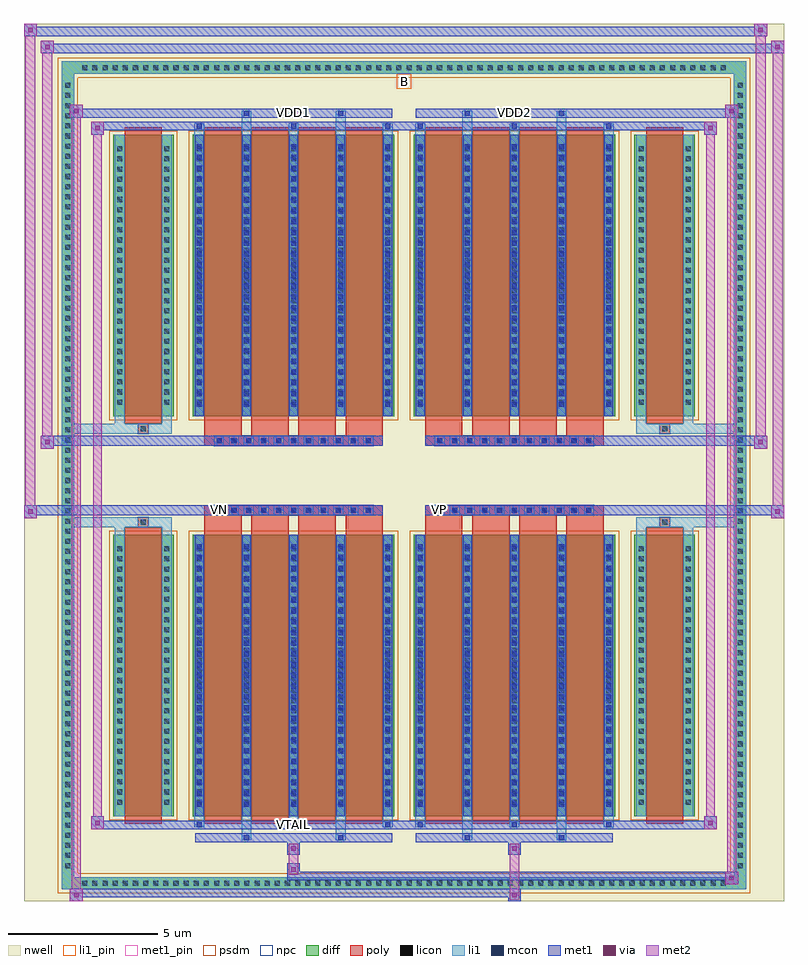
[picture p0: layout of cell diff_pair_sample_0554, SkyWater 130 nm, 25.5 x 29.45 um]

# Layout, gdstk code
import gdstk
lib = gdstk.Library(unit=1e-6, precision=5e-09)
def R(c, l, rs):  # rectangles x0, y0, x1, y1
    for r in rs: c.add(gdstk.rectangle(r[:2], r[2:], *l))
def A(c, l, x, y, w, h, nx, ny, dx, dy):  # array of equal rectangles
    R(c, l, [(x+i*dx, y+j*dy, x+i*dx+w, y+j*dy+h) for i in range(nx) for j in range(ny)])
def P(c, l, *ps):  # polygons
    for p in ps: c.add(gdstk.Polygon(p, *l))
nwell = (64, 20)
diff = (65, 20)
poly = (66, 20)
licon = (66, 44)
li1_pin = (67, 16)
li1 = (67, 20)
mcon = (67, 44)
met1_pin = (68, 16)
met1 = (68, 20)
via = (68, 44)
met2 = (69, 20)
psdm = (94, 20)
npc = (95, 20)

diff_pair_sample_0554 = lib.new_cell('diff_pair_sample_0554')
R(diff_pair_sample_0554, nwell, [(-12.75,-14.29,12.75,15.16), (-10.07,-12.48,-0.01,-0.8), (0.01,-12.48,10.07,-0.8), (-10.07,0.8,-0.01,12.48), (0.01,0.8,10.07,12.48)])
A(diff_pair_sample_0554, diff, -10.915, -13.89, 0.41, 0.41, 64, 2, 0.34, 27.37)
A(diff_pair_sample_0554, diff, -11.48, -13.295, 0.41, 0.41, 1, 78, 0, 0.34)
A(diff_pair_sample_0554, diff, 11.07, -13.295, 0.41, 0.41, 1, 78, 0, 0.34)
R(diff_pair_sample_0554, diff, [(-10.915,-13.89,10.915,-13.48), (-11.48,-13.295,-11.07,13.295), (11.07,-13.295,11.48,13.295), (-9.76,-11.435,-7.73,-1.985), (-7.09,-11.435,-0.32,-1.985), (0.32,-11.435,7.09,-1.985), (7.73,-11.435,9.76,-1.985), (-9.76,1.985,-7.73,11.435), (-7.09,1.985,-0.32,11.435), (0.32,1.985,7.09,11.435), (7.73,1.985,9.76,11.435), (-10.915,13.48,10.915,13.89)])
P(diff_pair_sample_0554, diff, [(11.48,13.89),(-11.48,13.89),(-11.48,-13.48),(-11.07,-13.48),(-11.07,13.48),(11.07,13.48),(11.07,-13.48),(-11.07,-13.48),(-11.48,-13.48),(-11.48,-13.89),(11.48,-13.89)])
A(diff_pair_sample_0554, poly, -6.7, -11.685, 1.25, 9.95, 4, 2, 1.58, 13.42)
A(diff_pair_sample_0554, poly, 0.71, -11.685, 1.25, 9.95, 4, 2, 1.58, 13.42)
A(diff_pair_sample_0554, poly, -6.7, -1.735, 1.25, 0.405, 4, 2, 1.58, 3.065)
A(diff_pair_sample_0554, poly, 0.71, -1.735, 1.25, 0.405, 4, 2, 1.58, 3.065)
A(diff_pair_sample_0554, poly, -6.37, -1.33, 0.33, 0.33, 11, 2, 0.5, 2.33)
A(diff_pair_sample_0554, poly, 1.04, -1.33, 0.33, 0.33, 11, 2, 0.5, 2.33)
R(diff_pair_sample_0554, poly, [(-9.37,-11.685,-8.12,-1.735), (8.12,-11.685,9.37,-1.735), (-8.91,-1.735,-8.58,-1.405), (-8.91,-1.735,-8.58,-1.405), (8.58,-1.735,8.91,-1.405), (8.58,-1.735,8.91,-1.405), (-6.7,-1.33,-0.71,-1), (0.71,-1.33,6.7,-1), (-6.7,1,-0.71,1.33), (0.71,1,6.7,1.33), (-8.91,1.405,-8.58,1.735), (-8.91,1.405,-8.58,1.735), (8.58,1.405,8.91,1.735), (8.58,1.405,8.91,1.735), (-9.37,1.735,-8.12,11.685), (8.12,1.735,9.37,11.685)])
A(diff_pair_sample_0554, licon, -10.795, -13.77, 0.17, 0.17, 64, 2, 0.34, 27.37)
A(diff_pair_sample_0554, licon, -11.36, -13.175, 0.17, 0.17, 1, 78, 0, 0.34)
A(diff_pair_sample_0554, licon, 11.19, -13.175, 0.17, 0.17, 1, 78, 0, 0.34)
A(diff_pair_sample_0554, licon, -9.62, -11.045, 0.17, 0.17, 1, 26, 0, 0.34)
A(diff_pair_sample_0554, licon, -8.04, -11.045, 0.17, 0.17, 1, 26, 0, 0.34)
A(diff_pair_sample_0554, licon, -6.95, -11.045, 0.17, 0.17, 5, 26, 1.58, 0.34)
A(diff_pair_sample_0554, licon, 0.46, -11.045, 0.17, 0.17, 5, 26, 1.58, 0.34)
A(diff_pair_sample_0554, licon, 7.87, -11.045, 0.17, 0.17, 1, 26, 0, 0.34)
A(diff_pair_sample_0554, licon, 9.45, -11.045, 0.17, 0.17, 1, 26, 0, 0.34)
A(diff_pair_sample_0554, licon, -6.29, -1.25, 0.17, 0.17, 11, 2, 0.5, 2.33)
A(diff_pair_sample_0554, licon, 1.12, -1.25, 0.17, 0.17, 11, 2, 0.5, 2.33)
A(diff_pair_sample_0554, licon, -9.62, 2.375, 0.17, 0.17, 1, 26, 0, 0.34)
A(diff_pair_sample_0554, licon, -8.04, 2.375, 0.17, 0.17, 1, 26, 0, 0.34)
A(diff_pair_sample_0554, licon, -6.95, 2.375, 0.17, 0.17, 5, 26, 1.58, 0.34)
A(diff_pair_sample_0554, licon, 0.46, 2.375, 0.17, 0.17, 5, 26, 1.58, 0.34)
A(diff_pair_sample_0554, licon, 7.87, 2.375, 0.17, 0.17, 1, 26, 0, 0.34)
A(diff_pair_sample_0554, licon, 9.45, 2.375, 0.17, 0.17, 1, 26, 0, 0.34)
R(diff_pair_sample_0554, licon, [(-8.83,-1.655,-8.66,-1.485), (8.66,-1.655,8.83,-1.485), (-8.83,1.485,-8.66,1.655), (8.66,1.485,8.83,1.655)])
R(diff_pair_sample_0554, li1_pin, [(-0.25,12.98,0.25,13.48)])
A(diff_pair_sample_0554, li1, -10.875, -13.85, 0.33, 0.33, 64, 2, 0.34, 27.37)
A(diff_pair_sample_0554, li1, -11.44, -13.255, 0.33, 0.33, 1, 78, 0, 0.34)
A(diff_pair_sample_0554, li1, 11.11, -13.255, 0.33, 0.33, 1, 78, 0, 0.34)
A(diff_pair_sample_0554, li1, -7.03, -11.81, 0.33, 0.375, 3, 2, 3.16, 23.245)
A(diff_pair_sample_0554, li1, -6.95, -11.81, 0.17, 0.17, 3, 2, 3.16, 23.45)
A(diff_pair_sample_0554, li1, 0.38, -11.81, 0.33, 0.375, 3, 2, 3.16, 23.245)
A(diff_pair_sample_0554, li1, 0.46, -11.81, 0.17, 0.17, 3, 2, 3.16, 23.45)
A(diff_pair_sample_0554, li1, -7.03, -11.435, 0.33, 9.45, 5, 2, 1.58, 13.42)
A(diff_pair_sample_0554, li1, 0.38, -11.435, 0.33, 9.45, 5, 2, 1.58, 13.42)
A(diff_pair_sample_0554, li1, -9.7, -11.125, 0.33, 0.33, 1, 26, 0, 0.34)
A(diff_pair_sample_0554, li1, -8.12, -11.125, 0.33, 0.33, 1, 26, 0, 0.34)
A(diff_pair_sample_0554, li1, -7.03, -11.125, 0.33, 0.33, 5, 26, 1.58, 0.34)
A(diff_pair_sample_0554, li1, 0.38, -11.125, 0.33, 0.33, 5, 26, 1.58, 0.34)
A(diff_pair_sample_0554, li1, 7.79, -11.125, 0.33, 0.33, 1, 26, 0, 0.34)
A(diff_pair_sample_0554, li1, 9.37, -11.125, 0.33, 0.33, 1, 26, 0, 0.34)
A(diff_pair_sample_0554, li1, -6.95, -11.115, 0.17, 0.17, 5, 25, 1.58, 0.36)
A(diff_pair_sample_0554, li1, -6.95, -11.115, 0.17, 8.81, 5, 2, 1.58, 13.42)
A(diff_pair_sample_0554, li1, 0.46, -11.115, 0.17, 0.17, 5, 25, 1.58, 0.36)
A(diff_pair_sample_0554, li1, 0.46, -11.115, 0.17, 8.81, 5, 2, 1.58, 13.42)
A(diff_pair_sample_0554, li1, -6.37, -1.33, 0.33, 0.33, 11, 2, 0.5, 2.33)
A(diff_pair_sample_0554, li1, 1.04, -1.33, 0.33, 0.33, 11, 2, 0.5, 2.33)
A(diff_pair_sample_0554, li1, -9.7, 2.295, 0.33, 0.33, 1, 26, 0, 0.34)
A(diff_pair_sample_0554, li1, -8.12, 2.295, 0.33, 0.33, 1, 26, 0, 0.34)
A(diff_pair_sample_0554, li1, -7.03, 2.295, 0.33, 0.33, 5, 26, 1.58, 0.34)
A(diff_pair_sample_0554, li1, 0.38, 2.295, 0.33, 0.33, 5, 26, 1.58, 0.34)
A(diff_pair_sample_0554, li1, 7.79, 2.295, 0.33, 0.33, 1, 26, 0, 0.34)
A(diff_pair_sample_0554, li1, 9.37, 2.295, 0.33, 0.33, 1, 26, 0, 0.34)
A(diff_pair_sample_0554, li1, -6.95, 2.305, 0.17, 0.17, 5, 25, 1.58, 0.36)
A(diff_pair_sample_0554, li1, 0.46, 2.305, 0.17, 0.17, 5, 25, 1.58, 0.36)
R(diff_pair_sample_0554, li1, [(-11.48,-13.89,-11.07,-13.48), (-11.48,-13.89,-11.07,-13.48), (-11.07,-13.89,11.07,-13.48), (11.07,-13.89,11.48,-13.48), (11.07,-13.89,11.48,-13.48), (-11.48,-13.48,-11.07,13.48), (11.07,-13.48,11.48,13.48), (-5.45,-12.24,-5.12,-11.435), (-5.37,-12.24,-5.2,-12.07), (-2.29,-12.24,-1.96,-11.435), (-2.21,-12.24,-2.04,-12.07), (1.96,-12.24,2.29,-11.435), (2.04,-12.24,2.21,-12.07), (5.12,-12.24,5.45,-11.435), (5.2,-12.24,5.37,-12.07), (-9.7,-11.435,-9.37,-1.985), (-8.12,-11.435,-7.79,-1.985), (7.79,-11.435,8.12,-1.985), (9.37,-11.435,9.7,-1.985), (-9.7,-1.985,-9.37,-1.405), (-8.12,-1.985,-7.79,-1.405), (7.79,-1.985,8.12,-1.405), (9.37,-1.985,9.7,-1.405), (-11.48,-1.735,-8.91,-1.405), (-9.7,-1.735,-8.91,-1.405), (-8.91,-1.735,-8.58,-1.405), (-8.58,-1.735,-7.79,-1.405), (7.79,-1.735,8.58,-1.405), (8.58,-1.735,8.91,-1.405), (8.58,-1.735,11.48,-1.405), (8.91,-1.735,9.7,-1.405), (-11.48,1.405,-8.91,1.735), (-9.7,1.405,-8.91,1.735), (-9.7,1.405,-9.37,1.985), (-8.91,1.405,-8.58,1.735), (-8.58,1.405,-7.79,1.735), (-8.12,1.405,-7.79,1.985), (7.79,1.405,8.58,1.735), (7.79,1.405,8.12,1.985), (8.58,1.405,8.91,1.735), (8.58,1.405,11.48,1.735), (8.91,1.405,9.7,1.735), (9.37,1.405,9.7,1.985), (-9.7,1.985,-9.37,11.435), (-8.12,1.985,-7.79,11.435), (7.79,1.985,8.12,11.435), (9.37,1.985,9.7,11.435), (-5.45,11.435,-5.12,12.24), (-2.29,11.435,-1.96,12.24), (1.96,11.435,2.29,12.24), (5.12,11.435,5.45,12.24), (-5.37,12.07,-5.2,12.24), (-2.21,12.07,-2.04,12.24), (2.04,12.07,2.21,12.24), (5.2,12.07,5.37,12.24), (-11.48,13.48,-11.07,13.89), (-11.48,13.48,-11.07,13.89), (-11.07,13.48,11.07,13.89), (11.07,13.48,11.48,13.89), (11.07,13.48,11.48,13.89)])
A(diff_pair_sample_0554, mcon, -6.95, -11.81, 0.17, 0.17, 3, 2, 3.16, 23.45)
A(diff_pair_sample_0554, mcon, 0.46, -11.81, 0.17, 0.17, 3, 2, 3.16, 23.45)
A(diff_pair_sample_0554, mcon, -6.95, -11.115, 0.17, 0.17, 5, 25, 1.58, 0.36)
A(diff_pair_sample_0554, mcon, 0.46, -11.115, 0.17, 0.17, 5, 25, 1.58, 0.36)
A(diff_pair_sample_0554, mcon, -6.29, -1.25, 0.17, 0.17, 11, 2, 0.5, 2.33)
A(diff_pair_sample_0554, mcon, 1.12, -1.25, 0.17, 0.17, 11, 2, 0.5, 2.33)
A(diff_pair_sample_0554, mcon, -6.95, 2.305, 0.17, 0.17, 5, 25, 1.58, 0.36)
A(diff_pair_sample_0554, mcon, 0.46, 2.305, 0.17, 0.17, 5, 25, 1.58, 0.36)
R(diff_pair_sample_0554, mcon, [(-5.37,-12.24,-5.2,-12.07), (-2.21,-12.24,-2.04,-12.07), (2.04,-12.24,2.21,-12.07), (5.2,-12.24,5.37,-12.07), (-5.37,12.07,-5.2,12.24), (-2.21,12.07,-2.04,12.24), (2.04,12.07,2.21,12.24), (5.2,12.07,5.37,12.24)])
R(diff_pair_sample_0554, met1_pin, [(-3.84,-11.85,-3.57,-11.58), (-6.34,-1.29,-6.07,-1.02), (1.07,-1.29,1.34,-1.02), (-3.84,12.03,-3.57,12.3), (3.57,12.03,3.84,12.3)])
A(diff_pair_sample_0554, met1, -7.01, -11.87, 0.29, 0.29, 3, 2, 3.16, 23.45)
A(diff_pair_sample_0554, met1, 0.4, -11.87, 0.29, 0.29, 3, 2, 3.16, 23.45)
A(diff_pair_sample_0554, met1, -7.01, -11.435, 0.29, 9.45, 5, 2, 1.58, 13.42)
A(diff_pair_sample_0554, met1, 0.4, -11.435, 0.29, 9.45, 5, 2, 1.58, 13.42)
A(diff_pair_sample_0554, met1, -7.01, -11.175, 0.29, 0.29, 5, 25, 1.58, 0.36)
A(diff_pair_sample_0554, met1, 0.4, -11.175, 0.29, 0.29, 5, 25, 1.58, 0.36)
A(diff_pair_sample_0554, met1, -6.35, -1.31, 0.29, 0.29, 11, 2, 0.5, 2.33)
A(diff_pair_sample_0554, met1, 1.06, -1.31, 0.29, 0.29, 11, 2, 0.5, 2.33)
A(diff_pair_sample_0554, met1, -7.01, 2.245, 0.29, 0.29, 5, 25, 1.58, 0.36)
A(diff_pair_sample_0554, met1, 0.4, 2.245, 0.29, 0.29, 5, 25, 1.58, 0.36)
R(diff_pair_sample_0554, met1, [(-11.21,-14.29,-10.78,-13.86), (3.49,-14.29,3.92,-13.86), (-11.21,-14.15,3.92,-13.86), (10.78,-13.72,11.21,-13.29), (-3.92,-13.58,11.21,-13.29), (-3.92,-13.44,-3.49,-13.01), (-3.92,-12.73,-3.49,-12.3), (3.49,-12.73,3.92,-12.3), (-7.01,-12.3,-0.4,-12.01), (-5.43,-12.3,-5.14,-12.01), (-2.27,-12.3,-1.98,-12.01), (0.4,-12.3,7.01,-12.01), (1.98,-12.3,2.27,-12.01), (5.14,-12.3,5.43,-12.01), (-10.5,-11.87,-10.07,-11.44), (-10.5,-11.87,-7.01,-11.58), (-7.01,-11.87,-0.4,-11.58), (-0.4,-11.87,0.4,-11.58), (0.4,-11.87,7.01,-11.58), (7.01,-11.87,10.5,-11.58), (10.07,-11.87,10.5,-11.44), (-12.75,-1.43,-12.32,-1), (12.32,-1.43,12.75,-1), (-12.75,-1.33,-0.71,-1), (-6.7,-1.33,-0.71,-1), (0.71,-1.33,6.7,-1), (0.71,-1.33,12.75,-1), (-12.18,0.9,-11.75,1.33), (11.75,0.9,12.18,1.33), (-12.18,1,-6.7,1.33), (-6.7,1,-0.71,1.33), (0.71,1,6.7,1.33), (6.7,1,12.18,1.33), (-10.5,11.44,-10.07,11.87), (10.07,11.44,10.5,11.87), (-10.5,11.58,-7.01,11.87), (-7.01,11.58,-0.4,11.87), (-0.4,11.58,0.4,11.87), (0.4,11.58,7.01,11.87), (7.01,11.58,10.5,11.87), (-11.21,12.01,-10.78,12.44), (-11.21,12.01,-7.01,12.3), (-7.01,12.01,-0.4,12.3), (-5.43,12.01,-5.14,12.3), (-2.27,12.01,-1.98,12.3), (0.4,12.01,7.01,12.3), (1.98,12.01,2.27,12.3), (5.14,12.01,5.43,12.3), (7.01,12.01,11.21,12.3), (10.78,12.01,11.21,12.44), (-12.18,14.16,-11.75,14.59), (-12.18,14.16,-10.07,14.49), (-10.07,14.16,10.07,14.49), (10.07,14.16,12.75,14.49), (12.32,14.16,12.75,14.59), (-12.75,14.73,-12.32,15.16), (-12.75,14.73,-10.07,15.06), (-10.07,14.73,10.07,15.06), (10.07,14.73,12.18,15.06), (11.75,14.73,12.18,15.16)])
R(diff_pair_sample_0554, via, [(-11.07,-14.15,-10.92,-14), (3.63,-14.15,3.78,-14), (10.92,-13.58,11.07,-13.43), (-3.78,-13.3,-3.63,-13.15), (-3.78,-12.59,-3.63,-12.44), (3.63,-12.59,3.78,-12.44), (-10.36,-11.73,-10.21,-11.58), (10.21,-11.73,10.36,-11.58), (-12.61,-1.29,-12.46,-1.14), (12.46,-1.29,12.61,-1.14), (-12.04,1.04,-11.89,1.19), (11.89,1.04,12.04,1.19), (-10.36,11.58,-10.21,11.73), (10.21,11.58,10.36,11.73), (-11.07,12.15,-10.92,12.3), (10.92,12.15,11.07,12.3), (-12.04,14.3,-11.89,14.45), (12.46,14.3,12.61,14.45), (-12.61,14.87,-12.46,15.02), (11.89,14.87,12.04,15.02)])
R(diff_pair_sample_0554, met2, [(-11.21,-14.29,-10.78,-13.86), (-11.14,-14.29,-10.85,12.44), (-10.85,-14.29,-10.78,-13.86), (-11.16,-14.24,-10.83,-13.91), (3.54,-14.24,3.87,-13.91), (3.54,-13.91,3.87,-12.68), (10.78,-13.72,11.21,-13.29), (10.85,-13.72,11.14,12.44), (11.14,-13.72,11.21,-13.29), (10.83,-13.67,11.16,-13.34), (-3.87,-13.39,-3.54,-13.06), (-3.87,-13.06,-3.54,-12.68), (-3.87,-12.68,-3.54,-12.35), (3.54,-12.68,3.87,-12.35), (-10.5,-11.87,-10.07,-11.44), (-10.43,-11.87,-10.14,11.87), (-10.14,-11.87,-10.07,-11.44), (10.07,-11.87,10.5,-11.44), (10.14,-11.87,10.43,11.87), (10.43,-11.87,10.5,-11.44), (-10.45,-11.82,-10.12,-11.49), (10.12,-11.82,10.45,-11.49), (-12.75,-1.43,-12.32,-1), (-12.7,-1.43,-12.37,15.16), (-12.37,-1.43,-12.32,-1), (12.32,-1.43,12.75,-1), (12.37,-1.43,12.7,14.59), (12.7,-1.43,12.75,-1), (-12.7,-1.38,-12.37,-1.05), (12.37,-1.38,12.7,-1.05), (-12.18,0.9,-11.75,1.33), (-12.13,0.9,-11.8,14.59), (-11.8,0.9,-11.75,1.33), (11.75,0.9,12.18,1.33), (11.8,0.9,12.13,15.16), (12.13,0.9,12.18,1.33), (-12.13,0.95,-11.8,1.28), (11.8,0.95,12.13,1.28), (-10.5,11.44,-10.07,11.87), (-10.14,11.44,-10.07,11.87), (10.07,11.44,10.5,11.87), (10.43,11.44,10.5,11.87), (-10.45,11.49,-10.12,11.82), (10.12,11.49,10.45,11.82), (-11.21,12.01,-10.78,12.44), (-10.85,12.01,-10.78,12.44), (10.78,12.01,11.21,12.44), (11.14,12.01,11.21,12.44), (-11.16,12.06,-10.83,12.39), (10.83,12.06,11.16,12.39), (-12.18,14.16,-11.75,14.59), (-11.8,14.16,-11.75,14.59), (12.32,14.16,12.75,14.59), (12.7,14.16,12.75,14.59), (-12.13,14.21,-11.8,14.54), (12.37,14.21,12.7,14.54), (-12.75,14.73,-12.32,15.16), (-12.37,14.73,-12.32,15.16), (11.75,14.73,12.18,15.16), (12.13,14.73,12.18,15.16), (-12.7,14.78,-12.37,15.11), (11.8,14.78,12.13,15.11)])
R(diff_pair_sample_0554, psdm, [(-9.89,-11.565,-7.6,-1.855), (-7.22,-11.565,-0.19,-1.855), (0.19,-11.565,7.22,-1.855), (7.6,-11.565,9.89,-1.855), (-9.89,1.855,-7.6,11.565), (-7.22,1.855,-0.19,11.565), (0.19,1.855,7.22,11.565), (7.6,1.855,9.89,11.565)])
P(diff_pair_sample_0554, psdm, [(11.61,14.02),(-11.61,14.02),(-11.61,-13.35),(-10.94,-13.35),(-10.94,13.35),(10.94,13.35),(10.94,-13.35),(-10.94,-13.35),(-11.61,-13.35),(-11.61,-14.02),(11.61,-14.02)])
A(diff_pair_sample_0554, npc, -6.39, -1.35, 0.37, 0.37, 11, 2, 0.5, 2.33)
A(diff_pair_sample_0554, npc, 1.02, -1.35, 0.37, 0.37, 11, 2, 0.5, 2.33)
R(diff_pair_sample_0554, npc, [(-8.93,-1.755,-8.56,-1.385), (8.56,-1.755,8.93,-1.385), (-6.39,-1.35,-5.52,-0.98), (-6.39,-1.35,-5.52,-0.98), (-5.89,-1.35,-5.02,-0.98), (-5.89,-1.35,-5.02,-0.98), (-5.39,-1.35,-4.52,-0.98), (-5.39,-1.35,-4.52,-0.98), (-4.89,-1.35,-4.02,-0.98), (-4.89,-1.35,-4.02,-0.98), (-4.39,-1.35,-3.52,-0.98), (-4.39,-1.35,-3.52,-0.98), (-3.89,-1.35,-3.02,-0.98), (-3.89,-1.35,-3.02,-0.98), (-3.39,-1.35,-2.52,-0.98), (-3.39,-1.35,-2.52,-0.98), (-2.89,-1.35,-2.02,-0.98), (-2.89,-1.35,-2.02,-0.98), (-2.39,-1.35,-1.52,-0.98), (-2.39,-1.35,-1.52,-0.98), (-1.89,-1.35,-1.02,-0.98), (-1.89,-1.35,-1.02,-0.98), (1.02,-1.35,1.89,-0.98), (1.02,-1.35,1.89,-0.98), (1.52,-1.35,2.39,-0.98), (1.52,-1.35,2.39,-0.98), (2.02,-1.35,2.89,-0.98), (2.02,-1.35,2.89,-0.98), (2.52,-1.35,3.39,-0.98), (2.52,-1.35,3.39,-0.98), (3.02,-1.35,3.89,-0.98), (3.02,-1.35,3.89,-0.98), (3.52,-1.35,4.39,-0.98), (3.52,-1.35,4.39,-0.98), (4.02,-1.35,4.89,-0.98), (4.02,-1.35,4.89,-0.98), (4.52,-1.35,5.39,-0.98), (4.52,-1.35,5.39,-0.98), (5.02,-1.35,5.89,-0.98), (5.02,-1.35,5.89,-0.98), (5.52,-1.35,6.39,-0.98), (5.52,-1.35,6.39,-0.98), (-6.39,0.98,-5.52,1.35), (-6.39,0.98,-5.52,1.35), (-5.89,0.98,-5.02,1.35), (-5.89,0.98,-5.02,1.35), (-5.39,0.98,-4.52,1.35), (-5.39,0.98,-4.52,1.35), (-4.89,0.98,-4.02,1.35), (-4.89,0.98,-4.02,1.35), (-4.39,0.98,-3.52,1.35), (-4.39,0.98,-3.52,1.35), (-3.89,0.98,-3.02,1.35), (-3.89,0.98,-3.02,1.35), (-3.39,0.98,-2.52,1.35), (-3.39,0.98,-2.52,1.35), (-2.89,0.98,-2.02,1.35), (-2.89,0.98,-2.02,1.35), (-2.39,0.98,-1.52,1.35), (-2.39,0.98,-1.52,1.35), (-1.89,0.98,-1.02,1.35), (-1.89,0.98,-1.02,1.35), (1.02,0.98,1.89,1.35), (1.02,0.98,1.89,1.35), (1.52,0.98,2.39,1.35), (1.52,0.98,2.39,1.35), (2.02,0.98,2.89,1.35), (2.02,0.98,2.89,1.35), (2.52,0.98,3.39,1.35), (2.52,0.98,3.39,1.35), (3.02,0.98,3.89,1.35), (3.02,0.98,3.89,1.35), (3.52,0.98,4.39,1.35), (3.52,0.98,4.39,1.35), (4.02,0.98,4.89,1.35), (4.02,0.98,4.89,1.35), (4.52,0.98,5.39,1.35), (4.52,0.98,5.39,1.35), (5.02,0.98,5.89,1.35), (5.02,0.98,5.89,1.35), (5.52,0.98,6.39,1.35), (5.52,0.98,6.39,1.35), (-8.93,1.385,-8.56,1.755), (8.56,1.385,8.93,1.755)])
diff_pair_sample_0554.add(gdstk.Label('VTAIL', (-3.705,-11.715), layer=68, texttype=5))
diff_pair_sample_0554.add(gdstk.Label('VN', (-6.205,-1.155), layer=68, texttype=5))
diff_pair_sample_0554.add(gdstk.Label('VP', (1.205,-1.155), layer=68, texttype=5))
diff_pair_sample_0554.add(gdstk.Label('B', (0,13.23), layer=67, texttype=5))
diff_pair_sample_0554.add(gdstk.Label('VDD2', (3.705,12.165), layer=68, texttype=5))
diff_pair_sample_0554.add(gdstk.Label('VDD1', (-3.705,12.165), layer=68, texttype=5))

lib.write_gds('diff_pair_sample_0554.gds')
